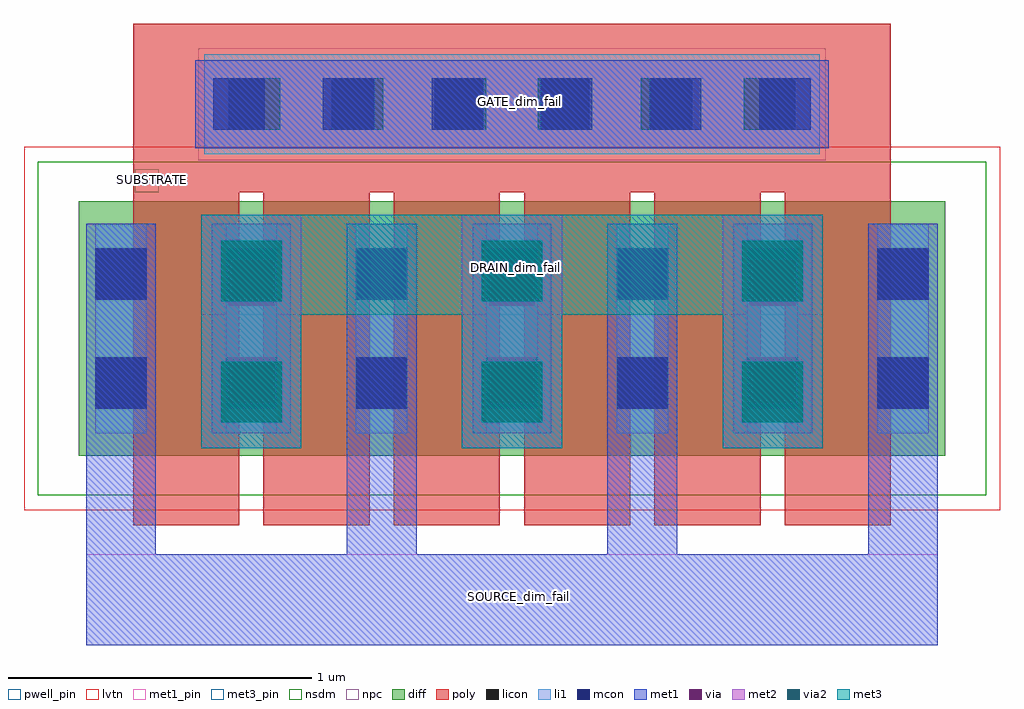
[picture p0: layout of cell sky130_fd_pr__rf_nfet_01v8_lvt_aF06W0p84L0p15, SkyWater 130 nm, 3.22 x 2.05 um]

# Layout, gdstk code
import gdstk
lib = gdstk.Library(unit=1e-6, precision=1e-09)
def R(c, l, rs):  # rectangles x0, y0, x1, y1
    for r in rs: c.add(gdstk.rectangle(r[:2], r[2:], *l))
def A(c, l, x, y, w, h, nx, ny, dx, dy):  # array of equal rectangles
    R(c, l, [(x+i*dx, y+j*dy, x+i*dx+w, y+j*dy+h) for i in range(nx) for j in range(ny)])
def P(c, l, *ps):  # polygons
    for p in ps: c.add(gdstk.Polygon(p, *l))
diff = (65, 20)
poly = (66, 20)
licon = (66, 44)
li1 = (67, 20)
mcon = (67, 44)
met1_pin = (68, 16)
met1 = (68, 20)
via = (68, 44)
met2 = (69, 20)
via2 = (69, 44)
met3_pin = (70, 16)
met3 = (70, 20)
nsdm = (93, 44)
npc = (95, 20)
pwell_pin = (122, 16)
lvtn = (125, 44)

sky130_fd_pr__rf_nfet_01 = lib.new_cell('sky130_fd_pr__rf_nfet_01v8_lvt_aF06W0p84L0p15')
A(sky130_fd_pr__rf_nfet_01, diff, 0.18, 0.18, 0.28, 0.84, 3, 1, 0.43, 0)
A(sky130_fd_pr__rf_nfet_01, diff, 0.21, 0.18, 0.25, 0.84, 4, 1, 0.86, 0)
A(sky130_fd_pr__rf_nfet_01, diff, 0.46, 0.18, 0.15, 0.84, 6, 1, 0.43, 0)
A(sky130_fd_pr__rf_nfet_01, diff, 1.04, 0.18, 0.28, 0.84, 3, 1, 0.43, 0)
A(sky130_fd_pr__rf_nfet_01, diff, 1.9, 0.18, 0.28, 0.84, 3, 1, 0.43, 0)
R(sky130_fd_pr__rf_nfet_01, diff, [(2.76,0.18,3.04,1.02)])
P(sky130_fd_pr__rf_nfet_01, poly, [(0.36,-0.05),(0.36,1.605),(2.86,1.605),(2.86,-0.05),(2.51,-0.05),(2.51,1.05),(2.43,1.05),(2.43,-0.05),(2.08,-0.05),(2.08,1.05),(2,1.05),(2,-0.05),(1.65,-0.05),(1.65,1.05),(1.57,1.05),(1.57,-0.05),(1.22,-0.05),(1.22,1.05),(1.14,1.05),(1.14,-0.05),(0.79,-0.05),(0.79,1.05),(0.71,1.05),(0.71,-0.05)])
A(sky130_fd_pr__rf_nfet_01, licon, 0.235, 0.335, 0.17, 0.17, 7, 2, 0.43, 0.36)
A(sky130_fd_pr__rf_nfet_01, licon, 0.675, 1.255, 0.17, 0.17, 6, 1, 0.34, 0)
A(sky130_fd_pr__rf_nfet_01, li1, 0.235, 0.255, 0.17, 0.69, 7, 1, 0.43, 0)
R(sky130_fd_pr__rf_nfet_01, li1, [(0.595,1.175,2.625,1.505), (0.625,1.255,2.595,1.425)])
A(sky130_fd_pr__rf_nfet_01, mcon, 0.235, 0.335, 0.17, 0.17, 7, 2, 0.43, 0.36)
A(sky130_fd_pr__rf_nfet_01, mcon, 0.625, 1.255, 0.17, 0.17, 6, 1, 0.36, 0)
R(sky130_fd_pr__rf_nfet_01, met1_pin, [(0.205,-0.445,3.015,-0.145), (0.565,1.195,2.655,1.485)])
R(sky130_fd_pr__rf_nfet_01, met1, [(0.565,1.195,2.655,1.485)])
A(sky130_fd_pr__rf_nfet_01, via, 0.675, 0.355, 0.15, 0.15, 3, 2, 0.86, 0.32)
A(sky130_fd_pr__rf_nfet_01, met2, 0.585, 0.205, 0.33, 0.77, 3, 1, 0.86, 0)
A(sky130_fd_pr__rf_nfet_01, met2, 0.62, 0.27, 0.26, 0.64, 3, 1, 0.86, 0)
A(sky130_fd_pr__rf_nfet_01, via2, 0.65, 0.29, 0.2, 0.2, 3, 2, 0.86, 0.4)
R(sky130_fd_pr__rf_nfet_01, met3_pin, [(0.585,0.645,2.635,0.975)])
A(sky130_fd_pr__rf_nfet_01, met3, 0.585, 0.205, 0.33, 0.77, 3, 1, 0.86, 0)
A(sky130_fd_pr__rf_nfet_01, nsdm, 0.21, 0.05, 0.4, 1.1, 6, 1, 0.43, 0)
A(sky130_fd_pr__rf_nfet_01, nsdm, 0.48, 0.05, 0.54, 1.1, 5, 1, 0.43, 0)
R(sky130_fd_pr__rf_nfet_01, nsdm, [(0.045,0.05,0.59,1.15), (2.63,0.05,3.175,1.15)])
R(sky130_fd_pr__rf_nfet_01, npc, [(0.575,1.155,2.645,1.525)])
R(sky130_fd_pr__rf_nfet_01, pwell_pin, [(0.365,1.05,0.445,1.125)])
R(sky130_fd_pr__rf_nfet_01, lvtn, [(0,0,3.22,1.2)])
sky130_fd_pr__rf_nfet_01.add(gdstk.FlexPath([(0.585,0.81),(2.635,0.81)], 0.33, ends="flush", simple_path=True, layer=70, datatype=20))  # met3
sky130_fd_pr__rf_nfet_01.add(gdstk.FlexPath([(2.9,0.945),(2.9,-0.445)], 0.23, ends="flush", simple_path=True, layer=68, datatype=20))  # met1
sky130_fd_pr__rf_nfet_01.add(gdstk.FlexPath([(2.04,0.945),(2.04,-0.445)], 0.23, ends="flush", simple_path=True, layer=68, datatype=20))  # met1
sky130_fd_pr__rf_nfet_01.add(gdstk.FlexPath([(0.205,-0.295),(3.015,-0.295)], 0.3, ends="flush", simple_path=True, layer=68, datatype=20))  # met1
sky130_fd_pr__rf_nfet_01.add(gdstk.FlexPath([(1.18,0.945),(1.18,-0.445)], 0.23, ends="flush", simple_path=True, layer=68, datatype=20))  # met1
sky130_fd_pr__rf_nfet_01.add(gdstk.FlexPath([(2.47,0.945),(2.47,0.255)], 0.26, ends="flush", simple_path=True, layer=68, datatype=20))  # met1
sky130_fd_pr__rf_nfet_01.add(gdstk.FlexPath([(1.61,0.945),(1.61,0.255)], 0.26, ends="flush", simple_path=True, layer=68, datatype=20))  # met1
sky130_fd_pr__rf_nfet_01.add(gdstk.FlexPath([(0.75,0.945),(0.75,0.255)], 0.26, ends="flush", simple_path=True, layer=68, datatype=20))  # met1
sky130_fd_pr__rf_nfet_01.add(gdstk.FlexPath([(0.32,0.945),(0.32,-0.445)], 0.23, ends="flush", simple_path=True, layer=68, datatype=20))  # met1
sky130_fd_pr__rf_nfet_01.add(gdstk.Label('DRAIN_dim_fail', (1.62,0.8), layer=70, texttype=16))
sky130_fd_pr__rf_nfet_01.add(gdstk.Label('SOURCE_dim_fail', (1.63,-0.285), layer=68, texttype=16))
sky130_fd_pr__rf_nfet_01.add(gdstk.Label('GATE_dim_fail', (1.635,1.35), layer=68, texttype=16))
sky130_fd_pr__rf_nfet_01.add(gdstk.Label('SUBSTRATE', (0.425,1.09), layer=64, texttype=59))

lib.write_gds('sky130_fd_pr__rf_nfet_01v8_lvt_aF06W0p84L0p15.gds')
